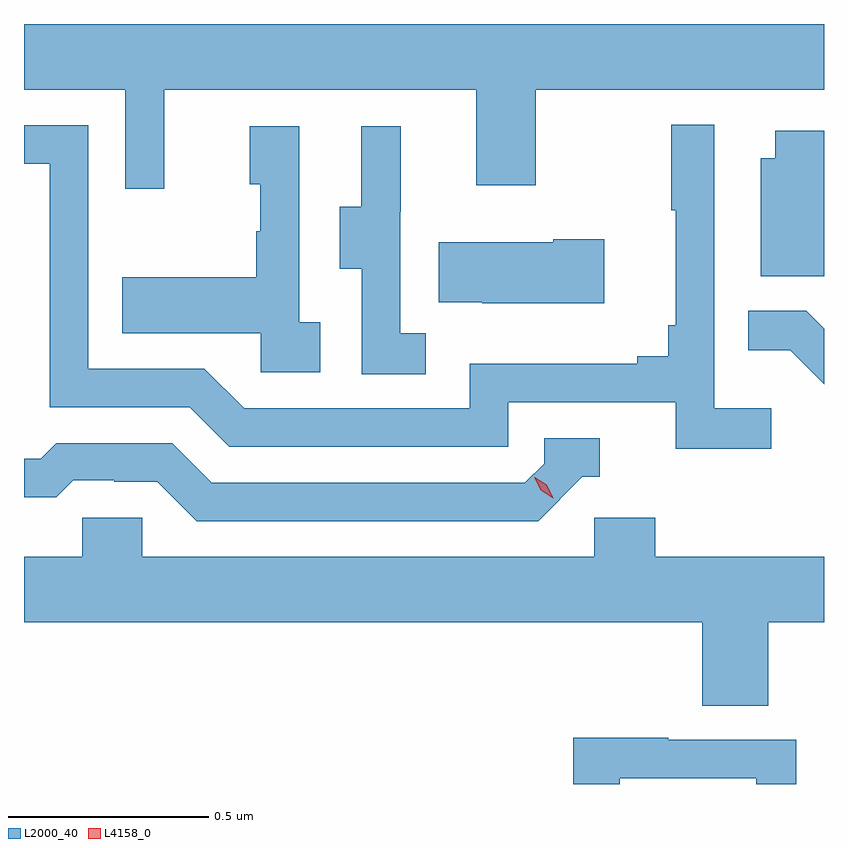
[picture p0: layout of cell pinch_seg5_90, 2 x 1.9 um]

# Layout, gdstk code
import gdstk
lib = gdstk.Library(unit=1e-6, precision=1e-09)
def P(c, l, *ps):  # polygons
    for p in ps: c.add(gdstk.Polygon(p, *l))
L2000_40 = (2000, 40)
L4158_0 = (4158, 0)

pinch_seg5_90 = lib.new_cell('pinch_seg5_90')
P(pinch_seg5_90, L2000_40, [(1022.345,912.704),(1023.125,912.704),(1023.125,912.465),(1023.273,912.465),(1023.273,912.704),(1023.994,912.704),(1023.994,912.868),(1021.994,912.868),(1021.994,912.704),(1022.247,912.704),(1022.247,912.456),(1022.345,912.456)],
  [(1023.862,911.908),(1023.72,911.908),(1023.72,912.616),(1023.612,912.616),(1023.612,912.403),(1023.623,912.403),(1023.623,912.115),(1023.604,912.115),(1023.604,912.038),(1023.527,912.038),(1023.527,912.019),(1023.108,912.019),(1023.108,911.907),(1022.544,911.907),(1022.445,912.006),(1022.154,912.006),(1022.154,912.615),(1021.994,912.615),(1021.994,912.519),(1022.058,912.519),(1022.058,911.91),(1022.408,911.91),(1022.507,911.811),(1023.204,911.811),(1023.204,911.922),(1023.623,911.922),(1023.623,911.806),(1023.862,911.806)],
  [(1022.734,912.122),(1022.682,912.122),(1022.682,912.613),(1022.558,912.613),(1022.558,912.468),(1022.584,912.468),(1022.584,912.35),(1022.574,912.35),(1022.574,912.235),(1022.239,912.235),(1022.239,912.095),(1022.586,912.095),(1022.586,911.997),(1022.734,911.997)],
  [(1022.998,912.095),(1022.934,912.095),(1022.934,912.399),(1022.936,912.399),(1022.936,912.613),(1022.837,912.613),(1022.837,912.411),(1022.783,912.411),(1022.783,912.256),(1022.838,912.256),(1022.838,911.992),(1022.998,911.992)],
  [(1023.994,912.601),(1023.872,912.601),(1023.872,912.532),(1023.836,912.532),(1023.836,912.237),(1023.994,912.237)],
  [(1023.445,912.33),(1023.317,912.33),(1023.317,912.322),(1023.031,912.322),(1023.031,912.173),(1023.139,912.173),(1023.139,912.17),(1023.445,912.17)],
  [(1023.994,912.106),(1023.949,912.151),(1023.805,912.151),(1023.805,912.053),(1023.909,912.053),(1023.994,911.968)],
  [(1023.39,911.736),(1023.433,911.736),(1023.433,911.832),(1023.294,911.832),(1023.294,911.769),(1023.246,911.721),(1022.463,911.721),(1022.364,911.82),(1022.075,911.82),(1022.036,911.781),(1021.994,911.781),(1021.994,911.685),(1022.075,911.685),(1022.117,911.727),(1022.22,911.727),(1022.22,911.724),(1022.327,911.724),(1022.426,911.625),(1023.279,911.625)],
  [(1023.854,911.372),(1023.994,911.372),(1023.994,911.536),(1023.572,911.536),(1023.572,911.634),(1023.42,911.634),(1023.42,911.536),(1022.289,911.536),(1022.289,911.634),(1022.139,911.634),(1022.139,911.536),(1021.994,911.536),(1021.994,911.372),(1023.689,911.372),(1023.689,911.164),(1023.854,911.164)],
  [(1023.483,910.983),(1023.825,910.983),(1023.825,910.968),(1023.924,910.968),(1023.924,911.079),(1023.605,911.079),(1023.605,911.084),(1023.367,911.084),(1023.367,910.968),(1023.483,910.968)])
P(pinch_seg5_90, L4158_0, [(1023.317,911.683),(1023.286,911.703),(1023.27,911.735),(1023.27,911.735),(1023.271,911.735),(1023.301,911.716),(1023.317,911.683),(1023.317,911.683)])

lib.write_gds('pinch_seg5_90.gds')
